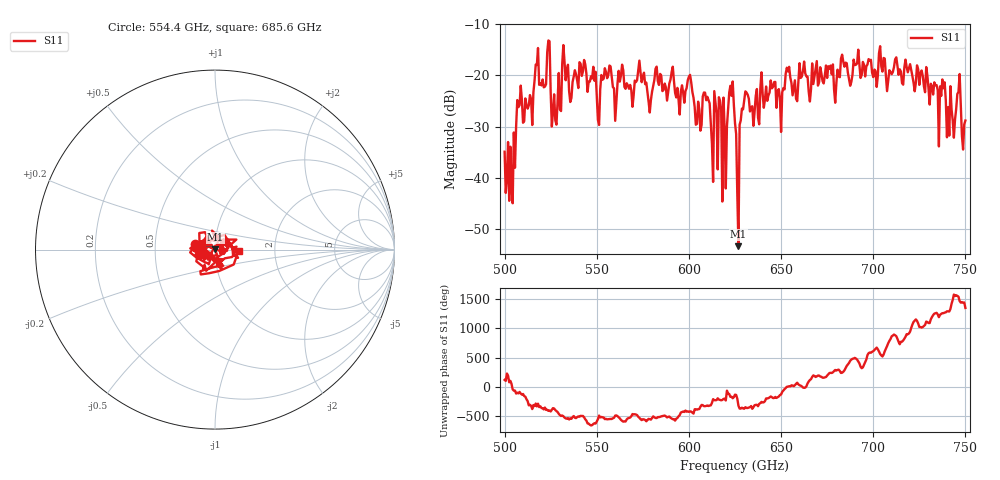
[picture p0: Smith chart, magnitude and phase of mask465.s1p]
!Created with skrf (http://scikit-rf.org).
# GHz S MA R 50.0
!freq magS11 angS11
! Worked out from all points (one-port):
!   401 points, 500 GHz to 750 GHz, reference 50 ohm
!   lowest |S11| = -53.4 dB at 626.9 GHz (marker M1), VSWR 1.00, Z = 50.2 + j0.117 ohm
!   |S11| at or under -10 dB: start of sweep to end of sweep
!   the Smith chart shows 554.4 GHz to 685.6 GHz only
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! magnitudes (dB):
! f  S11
! 500 GHz  -34.9
! 503.8 GHz  -41.7
! 508.1 GHz  -25.8
! 513.8 GHz  -23.8
! 516.9 GHz  -17.9
! 523.8 GHz  -13.2
! 526.9 GHz  -23.7
! 531.2 GHz  -17.8
! 542.5 GHz  -19.2
! 551.2 GHz  -29.7
! 562.5 GHz  -21.2
! 593.8 GHz  -22.4
! 605.6 GHz  -26.6
! 609.4 GHz  -24.8
! 611.9 GHz  -29.5
! 615 GHz  -27.4
! 619.4 GHz  -30.4
! 623.1 GHz  -24.0
! 625 GHz  -29.3
! 626.9 GHz  -53.4
! 628.8 GHz  -26.5
! 631.2 GHz  -23.4
! 656.2 GHz  -23.9
! 687.5 GHz  -22.0
! 718.8 GHz  -19.4
! 743.8 GHz  -32.2
! 746.2 GHz  -23.2
! 750 GHz  -28.8
